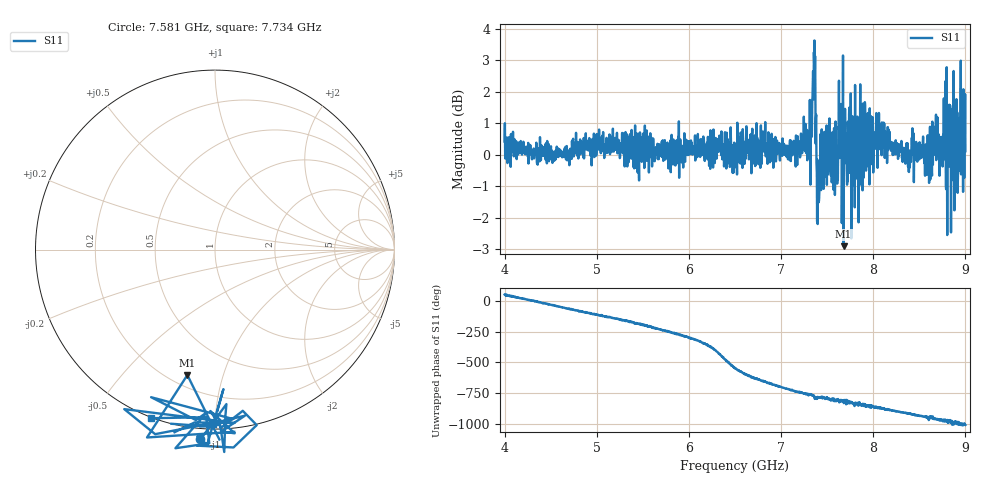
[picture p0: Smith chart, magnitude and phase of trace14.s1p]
! Created with skrf 1.8.0 (http://scikit-rf.org).
# Hz S RI R 50.0
!freq ReS11 ImS11
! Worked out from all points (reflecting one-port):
!   1601 points, 4 GHz to 9 GHz, reference 50 ohm
!   lowest |S11| = -2.9 dB at 7.678 GHz (marker M1), VSWR 6.03, Z = 13.4 - j38.4 ohm
!   phase of S11 starts at 50 deg and turns -1057 deg over the sweep
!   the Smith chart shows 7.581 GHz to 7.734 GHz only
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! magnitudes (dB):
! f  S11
! 4 GHz  0.4
! 4.625 GHz  -0.1
! 5.25 GHz  -0.1
! 5.875 GHz  0.2
! 6.331 GHz  0.6
! 6.5 GHz  -0.2
! 6.803 GHz  0.7
! 7.125 GHz  0.1
! 7.294 GHz  0.6
! 7.347 GHz  2.6
! 7.362 GHz  3.6
! 7.397 GHz  -2.2
! 7.409 GHz  -1.5
! 7.509 GHz  -0.6
! 7.591 GHz  1.1
! 7.647 GHz  1.4
! 7.678 GHz  -2.9
! 7.75 GHz  -0.4
! 7.784 GHz  0.0
! 7.891 GHz  -0.2
! 8.056 GHz  0.4
! 8.375 GHz  0.1
! 8.581 GHz  -0.6
! 8.666 GHz  0.3
! 8.816 GHz  -0.2
! 8.869 GHz  -0.3
! 8.956 GHz  0.1
! 9 GHz  0.1
